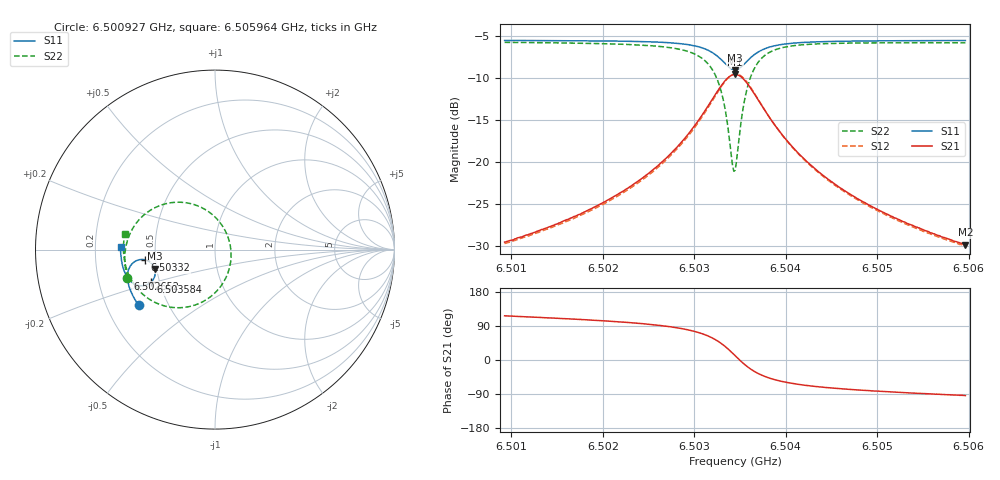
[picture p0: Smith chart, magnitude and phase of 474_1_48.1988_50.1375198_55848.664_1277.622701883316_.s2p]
#  HZ  S  RI  R  50.00
! Rohde & Schwarz Vector Network Analyzer
! Rohde-Schwarz,ZNB20-2Port,1311601062101988,3.16
! Created: UTC 3/20/2024, 11:57:16 AM
! freq[Hz]  re:S11  im:S11  re:S21  im:S21  re:S12  im:S12  re:S22  im:S22
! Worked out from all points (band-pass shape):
!   401 points, 6.500927 GHz to 6.505964 GHz, reference 50 ohm
!   highest |S21| = -9.60 dB at 6.503446 GHz (marker M1); lowest = -29.8 dB at 6.505964 GHz (marker M2)
!   |S21| within 3 dB of the highest: 6.503195 GHz to 6.503697 GHz (502.9 kHz wide, 0.00773 % of centre)
!   lowest |S11| = -9.1 dB at 6.503446 GHz (marker M3), VSWR 2.09, Z = 24.4 - j5.91 ohm
!   |S11| at or under -10 dB: nowhere
!   |S22| runs from -21.1 to -5.8 dB; largest |S21 - S12| = 0.012
!   S11 on the Smith chart (normalised r, x): 6.500927 GHz: 0.34, -0.29; 6.502652 GHz: 0.33, -0.14; 6.50332 GHz: 0.44, -0.06; 6.503584 GHz: 0.45, -0.19; 6.505964 GHz: 0.31, +0.01
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6.5009265e9  -0.4254 -0.3106  -0.015 0.0299  -0.0133 0.0301  -0.4886 -0.1573
6.5017704e9  -0.4618 -0.2486  -0.0142 0.0477  -0.0119 0.0472  -0.5024 -0.0682
6.502249e9  -0.4787 -0.206  -0.0113 0.0679  -0.00818 0.0668  -0.4994 4.94e-06
6.5026143e9  -0.4873 -0.1656  -0.00248 0.0964  0.00114 0.0942  -0.4804 0.0731
6.502652e9  -0.4877 -0.1608  -0.000623 0.1008  0.00307 0.0983  -0.4765 0.0825
6.5029291e9  -0.4838 -0.1178  0.026 0.1431  0.0296 0.1388  -0.4212 0.1684
6.5031181e9  -0.4625 -0.0795  0.08 0.1855  0.0826 0.1793  -0.3179 0.2412
6.5032314e9  -0.4298 -0.0587  0.1494 0.2031  0.1501 0.197  -0.1934 0.264
6.5033196e9  -0.3892 -0.0569  0.229 0.1871  0.2294 0.1822  -0.0555 0.2239
6.5033574e9  -0.3698 -0.0647  0.2657 0.164  0.2666 0.1597  0.005 0.1769
6.5034203e9  -0.3428 -0.0915  0.3138 0.0999  0.3166 0.0951  0.0778 0.0533
6.5034455e9  -0.3363 -0.1062  0.3242 0.0673  0.3276 0.0617  0.089 -0.00711
6.5034707e9  -0.3332 -0.122  0.3278 0.0334  0.3315 0.0266  0.0871 -0.0693
6.5035337e9  -0.3403 -0.1596  0.3095 -0.0451  0.312 -0.055  0.0313 -0.2056
6.5035841e9  -0.3568 -0.1818  0.2758 -0.091  0.2758 -0.1023  -0.0456 -0.2773
6.5036974e9  -0.4016 -0.2014  0.1909 -0.136  0.1858 -0.1457  -0.2176 -0.3238
6.5038611e9  -0.4482 -0.1917  0.1087 -0.1328  0.1019 -0.1379  -0.3656 -0.2766
6.5040375e9  -0.4757 -0.1703  0.0641 -0.1124  0.0578 -0.1148  -0.438 -0.2113
6.5042894e9  -0.4964 -0.1402  0.0341 -0.088  0.0292 -0.0885  -0.4815 -0.1392
6.5046546e9  -0.5116 -0.1022  0.0154 -0.0653  0.012 -0.065  -0.5035 -0.0662
6.5051332e9  -0.5214 -0.0578  0.00509 -0.0481  0.00281 -0.0474  -0.5102 0.00171
6.5059645e9  -0.5261 0.0126  -0.00217 -0.0323  -0.00343 -0.0315  -0.5022 0.0895
